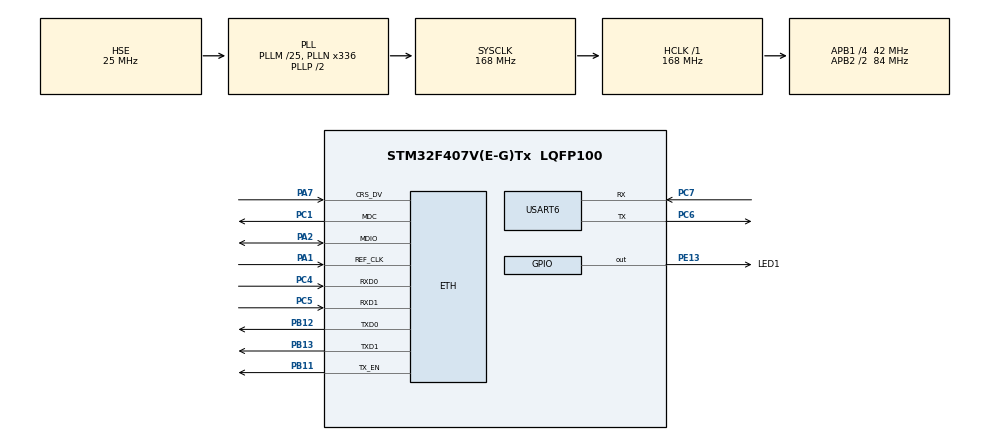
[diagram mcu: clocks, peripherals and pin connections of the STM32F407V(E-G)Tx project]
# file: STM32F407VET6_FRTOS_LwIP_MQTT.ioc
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Dma.Request0=USART6_RX
Dma.USART6_RX.0.Direction=DMA_PERIPH_TO_MEMORY
Dma.USART6_RX.0.FIFOMode=DMA_FIFOMODE_DISABLE
Dma.USART6_RX.0.Instance=DMA2_Stream1
Dma.USART6_RX.0.MemDataAlignment=DMA_MDATAALIGN_BYTE
Dma.USART6_RX.0.MemInc=DMA_MINC_ENABLE
Dma.USART6_RX.0.Mode=DMA_CIRCULAR
Dma.USART6_RX.0.PeriphDataAlignment=DMA_PDATAALIGN_BYTE
Dma.USART6_RX.0.PeriphInc=DMA_PINC_DISABLE
Dma.USART6_RX.0.Priority=DMA_PRIORITY_LOW
ETH.MediaInterface=HAL_ETH_RMII_MODE
FREERTOS.Tasks01=defaultTask,24,1024,StartDefaultTask,Default,NULL,Dynamic,NULL,NULL
FREERTOS.configCHECK_FOR_STACK_OVERFLOW=2
FREERTOS.configENABLE_FPU=1
LWIP.BSP.number=1
LWIP.LWIP_SO_RCVBUF=1
LWIP.LWIP_TCP=1
LWIP.Version=v2.1.2_Cube
LWIP0.BSP.STBoard=false
LWIP0.BSP.api=BSP_COMPONENT_DRIVER
LWIP0.BSP.component=DP83848
LWIP0.BSP.instance=DP83848
LWIP0.BSP.name=Driver_PHY
LWIP0.BSP.semaphore=S_DP83848
LWIP0.BSP.solution=DP83848
Mcu.Family=STM32F4
Mcu.Name=STM32F407V(E-G)Tx
Mcu.Package=LQFP100
NVIC.DMA2_Stream1_IRQn=true\:5\:0\:false\:false\:true\:true\:false\:true\:true
NVIC.ETH_IRQn=true\:5\:0\:false\:false\:true\:true\:false\:true\:true
NVIC.PriorityGroup=NVIC_PRIORITYGROUP_4
NVIC.TIM8_TRG_COM_TIM14_IRQn=true\:15\:0\:false\:false\:true\:false\:false\:true\:true
NVIC.TimeBase=TIM8_TRG_COM_TIM14_IRQn
NVIC.TimeBaseIP=TIM14
PA1.Mode=RMII
PA1.Signal=ETH_REF_CLK
PA13.Mode=Serial_Wire
PA13.Signal=SYS_JTMS-SWDIO
PA14.Mode=Serial_Wire
PA14.Signal=SYS_JTCK-SWCLK
PA2.Mode=RMII
PA2.Signal=ETH_MDIO
PA7.Mode=RMII
PA7.Signal=ETH_CRS_DV
PB11.Mode=RMII
PB11.Signal=ETH_TX_EN
PB12.Mode=RMII
PB12.Signal=ETH_TXD0
PB13.Mode=RMII
PB13.Signal=ETH_TXD1
PC1.Mode=RMII
PC1.Signal=ETH_MDC
PC14-OSC32_IN.Mode=LSE-External-Oscillator
PC14-OSC32_IN.Signal=RCC_OSC32_IN
PC15-OSC32_OUT.Mode=LSE-External-Oscillator
PC15-OSC32_OUT.Signal=RCC_OSC32_OUT
PC4.Mode=RMII
PC4.Signal=ETH_RXD0
PC5.Mode=RMII
PC5.Signal=ETH_RXD1
PC6.Mode=Asynchronous
PC6.Signal=USART6_TX
PC7.Mode=Asynchronous
PC7.Signal=USART6_RX
PE13.GPIO_Label=LED1
PE13.PinState=GPIO_PIN_SET
PE13.Signal=GPIO_Output
PH0-OSC_IN.Mode=HSE-External-Oscillator
PH0-OSC_IN.Signal=RCC_OSC_IN
PH1-OSC_OUT.Mode=HSE-External-Oscillator
PH1-OSC_OUT.Signal=RCC_OSC_OUT
ProjectManager.HeapSize=0x200
ProjectManager.StackSize=0x400
ProjectManager.TargetToolchain=CMake
RCC.48MHZClocksFreq_Value=84000000
RCC.AHBFreq_Value=168000000
RCC.APB1CLKDivider=RCC_HCLK_DIV4
RCC.APB1Freq_Value=42000000
RCC.APB1TimFreq_Value=84000000
RCC.APB2CLKDivider=RCC_HCLK_DIV2
RCC.APB2Freq_Value=84000000
RCC.APB2TimFreq_Value=168000000
RCC.CortexFreq_Value=168000000
RCC.HCLKFreq_Value=168000000
RCC.HSE_VALUE=25000000
RCC.HSI_VALUE=16000000
RCC.PLLM=25
RCC.PLLN=336
RCC.PLLSourceVirtual=RCC_PLLSOURCE_HSE
RCC.SYSCLKFreq_VALUE=168000000
RCC.SYSCLKSource=RCC_SYSCLKSOURCE_PLLCLK
RCC.VCOOutputFreq_Value=336000000
USART6.VirtualMode=VM_ASYNC
VP_FREERTOS_VS_CMSIS_V2.Mode=CMSIS_V2
VP_LWIP_VS_Enabled.Mode=Enabled
VP_SYS_VS_tim14.Mode=TIM14
board=custom

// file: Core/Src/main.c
/* USER CODE BEGIN Header */
/**
  ******************************************************************************
  * @file           : main.c
  * @brief          : Main program body
  ******************************************************************************
  * @attention
  *
  * Copyright (c) 2025 STMicroelectronics.
  * All rights reserved.
  *
  * This software is licensed under terms that can be found in the LICENSE file
  * in the root directory of this software component.
  * If no LICENSE file comes with this software, it is provided AS-IS.
  *
  ******************************************************************************
  */
/* USER CODE END Header */
#include "main.h"
#include "cmsis_os.h"
#include "lwip.h"

/* USER CODE BEGIN Includes */
#include <netif.h>
#include "mqtt.h"
#include "mqtt_example.h"
/* USER CODE END Includes */

UART_HandleTypeDef huart6;
DMA_HandleTypeDef hdma_usart6_rx;

/* Definitions for defaultTask */
osThreadId_t defaultTaskHandle;
const osThreadAttr_t defaultTask_attributes = {
  .name = "defaultTask",
  .stack_size = 1024 * 4,
  .priority = (osPriority_t) osPriorityNormal,
};
/* USER CODE BEGIN PV */
extern struct netif gnetif; //extern gnetif
extern mqtt_client_t* mqtt_client;

extern int mqtt_connected;

osThreadId mqttClientSubTaskHandle;  //mqtt client task handle
osThreadId mqttClientPubTaskHandle;  //mqtt client task handle
/* USER CODE END PV */

void SystemClock_Config(void);
static void MX_GPIO_Init(void);
static void MX_DMA_Init(void);
static void MX_USART6_UART_Init(void);
void StartDefaultTask(void *argument);

/* USER CODE BEGIN PFP */
void MqttClientSubTask(void const *argument); //mqtt client subscribe task function
void MqttClientPubTask(void const *argument); //mqtt client publish task function
/* USER CODE END PFP */

int main(void)
{

  /* MCU Configuration--------------------------------------------------------*/

  /* Reset of all peripherals, Initializes the Flash interface and the Systick. */
  HAL_Init();

  /* Configure the system clock */
  SystemClock_Config();

  /* Initialize all configured peripherals */
  MX_GPIO_Init();
  MX_DMA_Init();
  MX_USART6_UART_Init();

  /* Init scheduler */
  osKernelInitialize();

  /* Create the thread(s) */
  /* creation of defaultTask */
  defaultTaskHandle = osThreadNew(StartDefaultTask, NULL, &defaultTask_attributes);

  /* Start scheduler */
  osKernelStart();

  /* We should never get here as control is now taken by the scheduler */

  /* Infinite loop */
  while (1)
  {

  }
}

void SystemClock_Config(void)
{
  RCC_OscInitTypeDef RCC_OscInitStruct = {0};
  RCC_ClkInitTypeDef RCC_ClkInitStruct = {0};

  /** Configure the main internal regulator output voltage
  */
  __HAL_RCC_PWR_CLK_ENABLE();
  __HAL_PWR_VOLTAGESCALING_CONFIG(PWR_REGULATOR_VOLTAGE_SCALE1);

  /** Initializes the RCC Oscillators according to the specified parameters
  * in the RCC_OscInitTypeDef structure.
  */
  RCC_OscInitStruct.OscillatorType = RCC_OSCILLATORTYPE_HSE;
  RCC_OscInitStruct.HSEState = RCC_HSE_ON;
  RCC_OscInitStruct.PLL.PLLState = RCC_PLL_ON;
  RCC_OscInitStruct.PLL.PLLSource = RCC_PLLSOURCE_HSE;
  RCC_OscInitStruct.PLL.PLLM = 25;
  RCC_OscInitStruct.PLL.PLLN = 336;
  RCC_OscInitStruct.PLL.PLLP = RCC_PLLP_DIV2;
  RCC_OscInitStruct.PLL.PLLQ = 4;
  if (HAL_RCC_OscConfig(&RCC_OscInitStruct) != HAL_OK)
  {
    Error_Handler();
  }

  /** Initializes the CPU, AHB and APB buses clocks
  */
  RCC_ClkInitStruct.ClockType = RCC_CLOCKTYPE_HCLK|RCC_CLOCKTYPE_SYSCLK
                              |RCC_CLOCKTYPE_PCLK1|RCC_CLOCKTYPE_PCLK2;
  RCC_ClkInitStruct.SYSCLKSource = RCC_SYSCLKSOURCE_PLLCLK;
  RCC_ClkInitStruct.AHBCLKDivider = RCC_SYSCLK_DIV1;
  RCC_ClkInitStruct.APB1CLKDivider = RCC_HCLK_DIV4;
  RCC_ClkInitStruct.APB2CLKDivider = RCC_HCLK_DIV2;

  if (HAL_RCC_ClockConfig(&RCC_ClkInitStruct, FLASH_LATENCY_5) != HAL_OK)
  {
    Error_Handler();
  }
}

static void MX_USART6_UART_Init(void)
{

  huart6.Instance = USART6;
  huart6.Init.BaudRate = 115200;
  huart6.Init.WordLength = UART_WORDLENGTH_8B;
  huart6.Init.StopBits = UART_STOPBITS_1;
  huart6.Init.Parity = UART_PARITY_NONE;
  huart6.Init.Mode = UART_MODE_TX_RX;
  huart6.Init.HwFlowCtl = UART_HWCONTROL_NONE;
  huart6.Init.OverSampling = UART_OVERSAMPLING_16;
  if (HAL_UART_Init(&huart6) != HAL_OK)
  {
    Error_Handler();
  }

}

static void MX_DMA_Init(void)
{

  /* DMA controller clock enable */
  __HAL_RCC_DMA2_CLK_ENABLE();

  /* DMA interrupt init */
  /* DMA2_Stream1_IRQn interrupt configuration */
  HAL_NVIC_SetPriority(DMA2_Stream1_IRQn, 5, 0);
  HAL_NVIC_EnableIRQ(DMA2_Stream1_IRQn);

}

static void MX_GPIO_Init(void)
{
  GPIO_InitTypeDef GPIO_InitStruct = {0};

  /* GPIO Ports Clock Enable */
  __HAL_RCC_GPIOC_CLK_ENABLE();
  __HAL_RCC_GPIOH_CLK_ENABLE();
  __HAL_RCC_GPIOA_CLK_ENABLE();
  __HAL_RCC_GPIOE_CLK_ENABLE();
  __HAL_RCC_GPIOB_CLK_ENABLE();

  /*Configure GPIO pin Output Level */
  HAL_GPIO_WritePin(LED1_GPIO_Port, LED1_Pin, GPIO_PIN_SET);

  /*Configure GPIO pin : LED1_Pin */
  GPIO_InitStruct.Pin = LED1_Pin;
  GPIO_InitStruct.Mode = GPIO_MODE_OUTPUT_PP;
  GPIO_InitStruct.Pull = GPIO_NOPULL;
  GPIO_InitStruct.Speed = GPIO_SPEED_FREQ_LOW;
  HAL_GPIO_Init(LED1_GPIO_Port, &GPIO_InitStruct);

}

/* USER CODE BEGIN 4 */
void MqttClientSubTask(void const *argument)
{
  while(1)
  {
    //waiting for valid ip address
    if (gnetif.ip_addr.addr == 0 || gnetif.netmask.addr == 0 || gnetif.gw.addr == 0) //system has no valid ip address
    {
      osDelay(1000);
      continue;
    }
    else
    {
      printf("DHCP/Static IP O.K.\n");
      break;
    }
  }

  while(1)
  {

    if(!mqtt_connected)
    {
      //try to connect to the broker
      //MQTTDisconnect(&mqttClient);
      //MqttConnectBroker();
      mqtt_example_init();
      printf("MQTT not connected! \n");
      osDelay(5000);
    }
    else
    {
      //MQTTYield(&mqttClient, 1000); //handle timer
      //printf("MQTT connected! Do Timer Work for not prioryty\n");
      osDelay(100);
    }

    osDelay(1500);
  }

}

void MqttClientPubTask(void const *argument)
{
  const char* str = "MQTT message from STM32";
  //MQTTMessage message;

  while(1)
  {
    /*
    if(mqttClient.isconnected)
    {
      message.payload = (void*)str;
      message.payloadlen = strlen(str);

      if(MQTTPublish(&mqttClient, "test", &message) != MQTT_SUCCESS)
      {
        MQTTCloseSession(&mqttClient);
        net_disconnect(&net);
      }
    }
    */
    if (mqtt_connected && netif_is_up(&gnetif)) {
      const char *topic = "v1/devices/me/telemetry";
      const char *payload = "{temperature:27}";
      u8_t qos = 1; // QoS 1
      u8_t retain = 0;

      err_t err = mqtt_publish(
          mqtt_client,           // mqtt_client_t* pointer
          topic,                 // topic string
          payload,               // payload pointer
          strlen(payload),       // payload length
          qos,                   // QoS
          retain,                // retain flag
          NULL,                  // callback (optional)
          NULL                   // callback argument (optional)
      );
      if (err == ERR_OK) {
          printf("MQTT publish success!\n");
      } else {
          printf("MQTT publish failed: %d\n", err);
      }
    }
    //printf("Sending MQTT Message! \n");
    osDelay(5000);
  }
}
/* USER CODE END 4 */

void StartDefaultTask(void *argument)
{
  /* init code for LWIP */
  MX_LWIP_Init();
  /* USER CODE BEGIN 5 */
  const osThreadAttr_t mqttClientSubTask_attributes = {
    .name = "mqttClientSubTask",
    .priority = (osPriority_t) osPriorityNormal,
    .stack_size = 1024
  };
  mqttClientSubTaskHandle = osThreadNew(MqttClientSubTask, NULL, &mqttClientSubTask_attributes);

  const osThreadAttr_t mqttClientPubTask_attributes = {
    .name = "mqttClientPubTask",
    .priority = (osPriority_t) osPriorityNormal,
    .stack_size = 1024
  };
  mqttClientPubTaskHandle = osThreadNew(MqttClientPubTask, NULL, &mqttClientPubTask_attributes);

  /* Infinite loop */
  for(;;)
  {
    HAL_GPIO_TogglePin(LED1_GPIO_Port,LED1_Pin);
    osDelay(500);
  }
  /* USER CODE END 5 */
}

void HAL_TIM_PeriodElapsedCallback(TIM_HandleTypeDef *htim)
{
  if (htim->Instance == TIM14)
  {
    HAL_IncTick();
  }
}

void Error_Handler(void)
{
  __disable_irq();
  while (1)
  {
  }
}

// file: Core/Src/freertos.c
/* USER CODE BEGIN Header */
/**
  ******************************************************************************
  * File Name          : freertos.c
  * Description        : Code for freertos applications
  ******************************************************************************
  * @attention
  *
  * Copyright (c) 2025 STMicroelectronics.
  * All rights reserved.
  *
  * This software is licensed under terms that can be found in the LICENSE file
  * in the root directory of this software component.
  * If no LICENSE file comes with this software, it is provided AS-IS.
  *
  ******************************************************************************
  */
/* USER CODE END Header */

#include "FreeRTOS.h"
#include "task.h"
#include "main.h"

/* Hook prototypes */
void vApplicationStackOverflowHook(xTaskHandle xTask, signed char *pcTaskName);

/* USER CODE BEGIN 4 */
void vApplicationStackOverflowHook(xTaskHandle xTask, signed char *pcTaskName)
{
   /* Run time stack overflow checking is performed if
   configCHECK_FOR_STACK_OVERFLOW is defined to 1 or 2. This hook function is
   called if a stack overflow is detected. */
   printf("stack ovf : %s\n",pcTaskName);
}
/* USER CODE END 4 */
